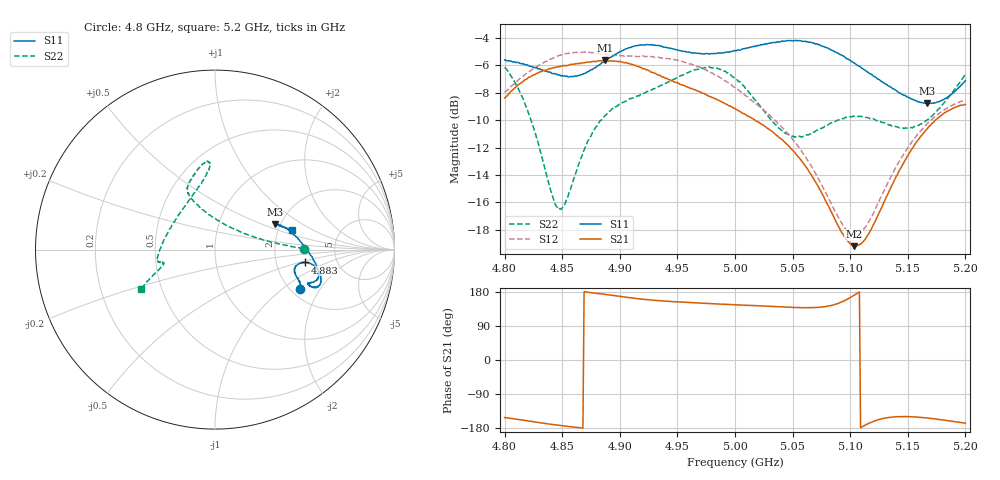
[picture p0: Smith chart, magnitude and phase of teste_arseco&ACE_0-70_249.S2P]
! Network Analyzer HP8722D
! Hewlett-Packard
! Data name: Linha & Wilkinson
! Saver's name: Rodrigo Anjos
! Comments: Teste da utilização de aquisição
! continua pelo VNA HP8722D
! Time and date: 8/5/2025 14:50
!  Frequency  S11  S21  S12  S22
# HZ  S  MA R 50
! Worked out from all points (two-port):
!   401 points, 4.8 GHz to 5.2 GHz, reference 50 ohm
!   highest |S21| = -5.64 dB at 4.887 GHz (marker M1); lowest = -19.2 dB at 5.103 GHz (marker M2)
!   |S21| within 3 dB of the highest: start of sweep to 4.988 GHz
!   lowest |S11| = -8.8 dB at 5.167 GHz (marker M3), VSWR 2.14, Z = 93.6 + j30.9 ohm
!   |S11| at or under -10 dB: nowhere
!   |S22| runs from -16.5 to -6.1 dB; largest |S21 - S12| = 1.1
!   S11 on the Smith chart (normalised r, x): 4.8 GHz: 2.23, -1.37; 4.883 GHz: 2.93, -0.56; 5.2 GHz: 2.36, +0.65
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4.8e9  0.5247 -25.0  0.381 -152.0  0.399 7.2  0.4931 0.5
4.82e9  0.502 -20.6  0.4496 -160.5  0.4728 4.3  0.3428 6.0
4.842e9  0.4673 -17.2  0.4912 -170.3  0.5323 1.0  0.1656 40.2
4.846e9  0.4647 -16.2  0.495 -171.9  0.5419 0.2  0.152 54.5
4.853e9  0.4568 -14.5  0.4988 -174.5  0.553 -1.1  0.1589 80.5
4.867e9  0.4637 -10.8  0.5117 -179.5  0.5586 -3.0  0.2332 107.6
4.883e9  0.5063 -8.1  0.5209 174.5  0.5535 -4.0  0.3153 114.7
4.887e9  0.5197 -8.1  0.5225 173.3  0.5518 -4.1  0.328 114.9
4.912e9  0.5886 -11.6  0.5034 163.0  0.5414 -3.3  0.3813 113.5
4.934e9  0.5919 -16.9  0.4618 156.5  0.5367 -4.1  0.4204 107.8
4.976e9  0.5543 -19.9  0.3888 149.2  0.4785 -7.5  0.4934 95.2
5e9  0.5681 -20.9  0.3486 145.7  0.4169 -7.5  0.45 94.5
5.042e9  0.6139 -19.1  0.266 140.0  0.2945 0.3  0.2874 129.7
5.067e9  0.6064 -14.0  0.1974 138.1  0.2126 8.4  0.2846 165.4
5.092e9  0.5482 -5.3  0.1244 152.4  0.1344 31.5  0.3197 -174.3
5.103e9  0.5127 0.1  0.1097 170.0  0.1203 51.9  0.3274 -170.1
5.115e9  0.4745 6.1  0.12 -168.6  0.1323 74.9  0.323 -167.6
5.134e9  0.421 15.4  0.175 -151.4  0.1915 94.1  0.3031 -166.6
5.152e9  0.3801 21.8  0.2422 -149.7  0.2578 98.9  0.297 -164.7
5.167e9  0.3639 23.2  0.2943 -153.2  0.3075 99.5  0.3174 -161.7
5.183e9  0.3799 20.6  0.338 -159.5  0.3479 99.4  0.372 -157.5
5.2e9  0.4405 14.6  0.361 -166.6  0.3753 100.0  0.4641 -152.1
